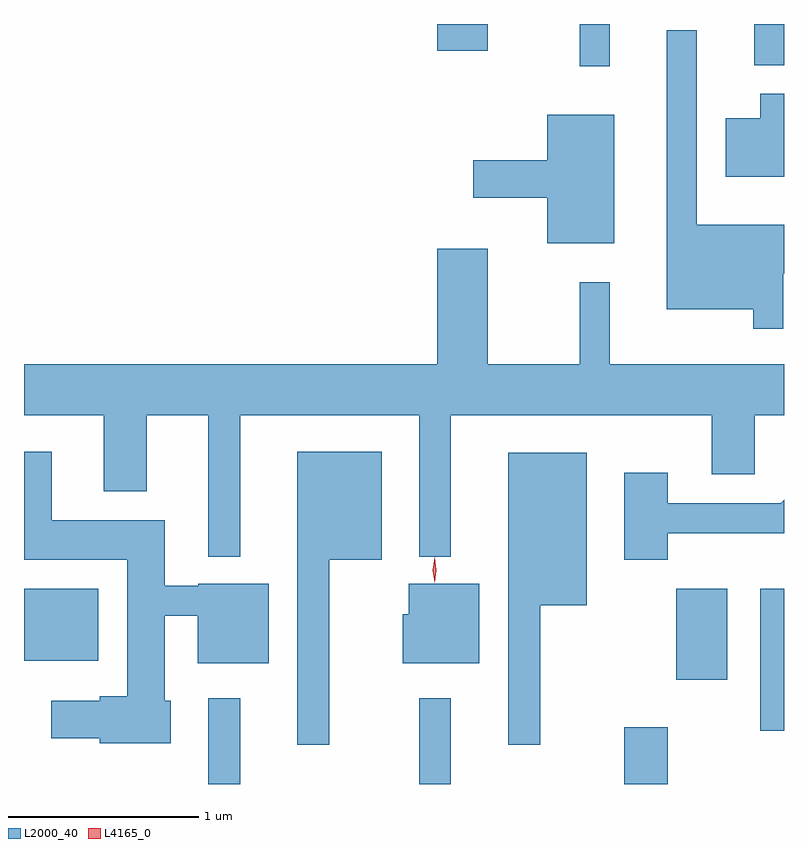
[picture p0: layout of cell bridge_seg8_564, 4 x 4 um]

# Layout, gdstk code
import gdstk
lib = gdstk.Library(unit=1e-6, precision=1e-09)
def R(c, l, rs):  # rectangles x0, y0, x1, y1
    for r in rs: c.add(gdstk.rectangle(r[:2], r[2:], *l))
def P(c, l, *ps):  # polygons
    for p in ps: c.add(gdstk.Polygon(p, *l))
L2000_40 = (2000, 40)
L4165_0 = (4165, 0)

bridge_seg8_564 = lib.new_cell('bridge_seg8_564')
R(bridge_seg8_564, L2000_40, [(553.531,1823.376,553.699,1823.828), (554.641,1823.376,554.809,1823.828), (555.721,1823.376,555.949,1823.674), (556.436,1823.656,556.562,1824.404), (555.996,1823.926,556.264,1824.404), (552.562,1824.026,552.954,1824.404), (555.486,1827.153,555.644,1827.376), (556.406,1827.158,556.562,1827.376), (554.736,1827.236,555.004,1827.376)])
P(bridge_seg8_564, L2000_40, [(556.559,1826.061),(556.562,1826.061),(556.562,1826.319),(556.104,1826.319),(556.104,1827.343),(555.946,1827.343),(555.946,1825.876),(556.401,1825.876),(556.401,1825.773),(556.559,1825.773)],
  [(556.562,1827.009),(556.436,1827.009),(556.436,1826.879),(556.256,1826.879),(556.256,1826.571),(556.562,1826.571)],
  [(555.669,1826.899),(555.316,1826.899),(555.316,1826.659),(554.926,1826.659),(554.926,1826.461),(555.316,1826.461),(555.316,1826.221),(555.669,1826.221)],
  [(553.699,1825.316),(554.641,1825.316),(554.641,1824.573),(554.809,1824.573),(554.809,1825.316),(556.181,1825.316),(556.181,1825.006),(556.409,1825.006),(556.409,1825.316),(556.562,1825.316),(556.562,1825.584),(555.644,1825.584),(555.644,1826.018),(555.486,1826.018),(555.486,1825.584),(555.004,1825.584),(555.004,1826.194),(554.736,1826.194),(554.736,1825.584),(552.562,1825.584),(552.562,1825.316),(552.981,1825.316),(552.981,1824.916),(553.209,1824.916),(553.209,1825.316),(553.531,1825.316),(553.531,1824.573),(553.699,1824.573)],
  [(553.334,1823.814),(553.304,1823.814),(553.304,1824.261),(553.476,1824.261),(553.476,1824.011),(553.849,1824.011),(553.849,1824.429),(553.48,1824.429),(553.48,1824.419),(553.304,1824.419),(553.304,1824.764),(552.709,1824.764),(552.709,1825.124),(552.562,1825.124),(552.562,1824.556),(553.106,1824.556),(553.106,1823.839),(552.961,1823.839),(552.961,1823.814),(552.706,1823.814),(552.706,1823.616),(552.961,1823.616),(552.961,1823.591),(553.334,1823.591)],
  [(554.169,1824.556),(554.444,1824.556),(554.444,1825.124),(554.001,1825.124),(554.001,1823.583),(554.169,1823.583)],
  [(555.279,1824.316),(555.524,1824.316),(555.524,1825.119),(555.111,1825.119),(555.111,1823.583),(555.279,1823.583)],
  [(555.949,1824.696),(556.562,1824.696),(556.562,1824.872),(556.544,1824.854),(555.949,1824.854),(555.949,1825.014),(555.721,1825.014),(555.721,1824.556),(555.949,1824.556)],
  [(554.959,1824.429),(554.586,1824.429),(554.586,1824.269),(554.556,1824.269),(554.556,1824.011),(554.959,1824.011)])
P(bridge_seg8_564, L4165_0, [(554.723,1824.439),(554.723,1824.439),(554.713,1824.503),(554.723,1824.567),(554.723,1824.567),(554.724,1824.567),(554.733,1824.503),(554.724,1824.439)],
  [(554.723,1824.434),(554.723,1824.434),(554.713,1824.502),(554.723,1824.57),(554.723,1824.57),(554.724,1824.57),(554.733,1824.502),(554.724,1824.434)])

lib.write_gds('bridge_seg8_564.gds')
